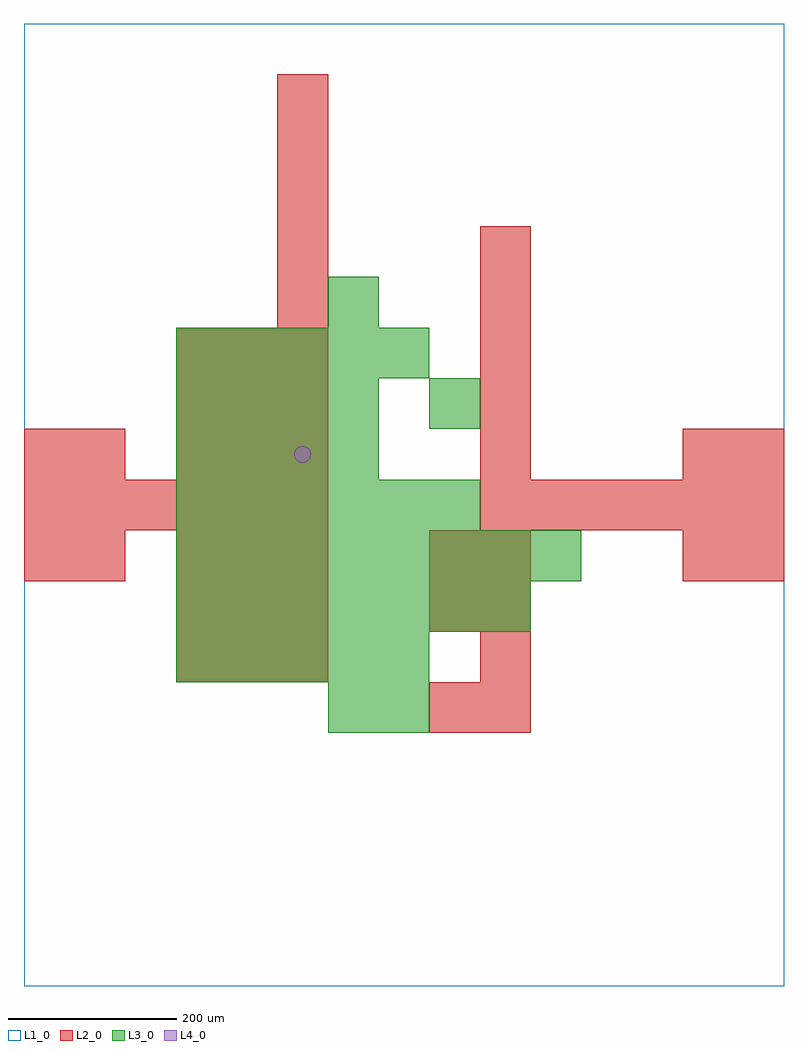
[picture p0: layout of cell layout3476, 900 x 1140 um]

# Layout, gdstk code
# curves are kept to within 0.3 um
import gdstk
lib = gdstk.Library(unit=1e-6, precision=1e-09)
def R(c, l, rs):  # rectangles x0, y0, x1, y1
    for r in rs: c.add(gdstk.rectangle(r[:2], r[2:], *l))
def A(c, l, x, y, w, h, nx, ny, dx, dy):  # array of equal rectangles
    R(c, l, [(x+i*dx, y+j*dy, x+i*dx+w, y+j*dy+h) for i in range(nx) for j in range(ny)])
def P(c, l, *ps):  # polygons
    for p in ps: c.add(gdstk.Polygon(p, *l))
L1_0 = (1, 0)
L2_0 = (2, 0)
L3_0 = (3, 0)
L4_0 = (4, 0)

layout3476 = lib.new_cell('layout3476')
R(layout3476, L1_0, [(0,0,900,1140)])
A(layout3476, L2_0, 540, 300, 60, 60, 1, 4, 0, 60)
A(layout3476, L2_0, 180, 360, 60, 60, 3, 3, 60, 60)
A(layout3476, L2_0, 0, 540, 60, 60, 6, 1, 60, 0)
A(layout3476, L2_0, 540, 540, 60, 60, 6, 1, 60, 0)
A(layout3476, L2_0, 180, 600, 60, 60, 3, 3, 60, 60)
A(layout3476, L2_0, 540, 600, 60, 60, 1, 5, 0, 60)
A(layout3476, L2_0, 300, 780, 60, 60, 1, 5, 0, 60)
R(layout3476, L2_0, [(480,300,540,360), (480,420,540,480), (0,480,60,540), (60,480,120,540), (480,480,540,540), (780,480,840,540), (840,480,900,540), (0,600,60,660), (60,600,120,660), (780,600,840,660), (840,600,900,660)])
A(layout3476, L3_0, 180, 360, 60, 60, 5, 2, 60, 360)
A(layout3476, L3_0, 180, 420, 60, 60, 7, 1, 60, 0)
A(layout3476, L3_0, 180, 480, 60, 60, 8, 1, 60, 0)
A(layout3476, L3_0, 180, 540, 60, 60, 6, 1, 60, 0)
A(layout3476, L3_0, 180, 600, 60, 60, 4, 2, 60, 60)
R(layout3476, L3_0, [(360,300,420,360), (420,300,480,360), (480,660,540,720), (360,780,420,840)])
P(layout3476, L4_0, [(340,630),(339.239,633.827),(337.071,637.071),(333.827,639.239),(330,640),(326.173,639.239),(322.929,637.071),(320.761,633.827),(320,630),(320.761,626.173),(322.929,622.929),(326.173,620.761),(330,620),(333.827,620.761),(337.071,622.929),(339.239,626.173)])

lib.write_gds('layout3476.gds')
